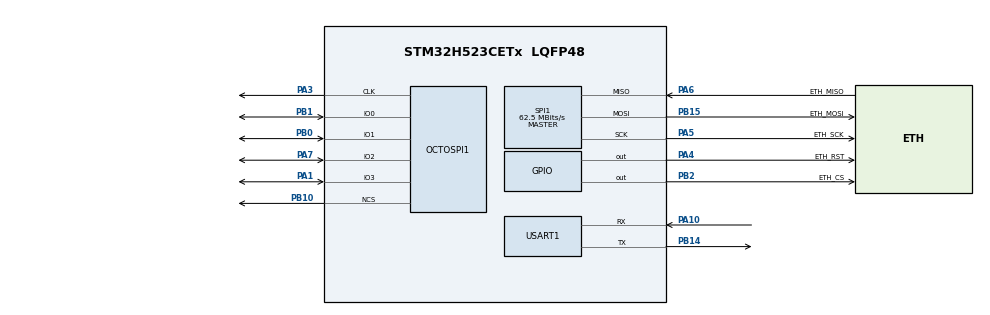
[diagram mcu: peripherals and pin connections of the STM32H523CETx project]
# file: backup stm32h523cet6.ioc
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BOOTPATH.BootPathName=LEGACY
BOOTPATH.UserSelectedBootPath=LEGACY
CORTEX_M33_NS.userName=CORTEX_M33
CRC.InputDataFormat=CRC_INPUTDATA_FORMAT_WORDS
Mcu.Family=STM32H5
Mcu.Name=STM32H523CETx
Mcu.Package=LQFP48
NVIC.PriorityGroup=NVIC_PRIORITYGROUP_4
OCTOSPI1.ClockPrescaler=1
OCTOSPI1.MemorySize=HAL_XSPI_SIZE_32MB
OCTOSPI1.MemoryType=HAL_XSPI_MEMTYPE_MACRONIX
PA1.Mode=OCTOSPI1_IO[3\:0]
PA1.Signal=OCTOSPI1_IO3
PA10.Mode=Asynchronous
PA10.Signal=USART1_RX
PA13(JTMS/SWDIO).Mode=Serial_Wire
PA13(JTMS/SWDIO).Signal=DEBUG_JTMS-SWDIO
PA14(JTCK/SWCLK).Mode=Serial_Wire
PA14(JTCK/SWCLK).Signal=DEBUG_JTCK-SWCLK
PA3.Mode=quad_mode
PA3.Signal=OCTOSPI1_CLK
PA4.GPIO_Label=ETH_RST
PA4.Signal=GPIO_Output
PA5.GPIO_Label=ETH_SCK
PA5.Mode=Full_Duplex_Master
PA5.Signal=SPI1_SCK
PA6.GPIO_Label=ETH_MISO
PA6.Mode=Full_Duplex_Master
PA6.Signal=SPI1_MISO
PA7.Mode=OCTOSPI1_IO[3\:0]
PA7.Signal=OCTOSPI1_IO2
PB0.Mode=OCTOSPI1_IO[3\:0]
PB0.Signal=OCTOSPI1_IO1
PB1.Mode=OCTOSPI1_IO[3\:0]
PB1.Signal=OCTOSPI1_IO0
PB10.Mode=quad_mode
PB10.Signal=OCTOSPI1_NCS
PB14.Mode=Asynchronous
PB14.Signal=USART1_TX
PB15.GPIO_Label=ETH_MOSI
PB15.Mode=Full_Duplex_Master
PB15.Signal=SPI1_MOSI
PB2.GPIO_Label=ETH_CS
PB2.Signal=GPIO_Output
PH0-OSC_IN(PH0).Mode=HSE-External-Oscillator
PH0-OSC_IN(PH0).Signal=RCC_OSC_IN
PH1-OSC_OUT(PH1).Mode=HSE-External-Oscillator
PH1-OSC_OUT(PH1).Signal=RCC_OSC_OUT
ProjectManager.HeapSize=0x200
ProjectManager.StackSize=0x400
ProjectManager.TargetToolchain=STM32CubeIDE
RCC.ADCFreq_Value=250000000
RCC.AHBFreq_Value=250000000
RCC.APB1Freq_Value=250000000
RCC.APB1TimFreq_Value=250000000
RCC.APB2Freq_Value=250000000
RCC.APB2TimFreq_Value=250000000
RCC.APB3Freq_Value=250000000
RCC.CSI_VALUE=4000000
RCC.CortexFreq_Value=250000000
RCC.EPOD_VALUE=25000000
RCC.HCLKFreq_Value=250000000
RCC.HSE_VALUE=25000000
RCC.HSI48_VALUE=48000000
RCC.HSI_VALUE=64000000
RCC.LSE_VALUE=32768
RCC.LSIRC_VALUE=32000
RCC.PLL2FRACN=0
RCC.PLL2M=2
RCC.PLL2N=40
RCC.PLL2P=4
RCC.PLL2Source=RCC_PLL2_SOURCE_HSE
RCC.PLL3FRACN=0
RCC.PLL3M=5
RCC.PLL3N=80
RCC.PLL3Source=RCC_PLL3_SOURCE_HSE
RCC.PLLFRACN=0
RCC.PLLM=2
RCC.PLLN=40
RCC.PLLSourceVirtual=RCC_PLL1_SOURCE_HSE
RCC.SPI1CLockSelection=RCC_SPI1CLKSOURCE_PLL2P
RCC.SPI3CLockSelection=RCC_SPI3CLKSOURCE_PLL3P
RCC.SYSCLKFreq_VALUE=250000000
RCC.SYSCLKSource=RCC_SYSCLKSOURCE_PLLCLK
RCC.USBFreq_Value=48000000
RCC.VCOOutputFreq_Value=500000000
SPI1.BaudRatePrescaler=SPI_BAUDRATEPRESCALER_2
SPI1.CalculateBaudRate=62.5 MBits/s
SPI1.DataSize=SPI_DATASIZE_8BIT
SPI1.Direction=SPI_DIRECTION_2LINES
SPI1.Mode=SPI_MODE_MASTER
SPI1.VirtualType=VM_MASTER
USART1.VirtualMode-Asynchronous=VM_ASYNC
VP_BOOTPATH_VS_BOOTPATH.Mode=BP_Activate
VP_CORTEX_M33_NS_VS_Hclk.Mode=Hclk_Mode
VP_CRC_VS_CRC.Mode=CRC_Activate
VP_MEMORYMAP_VS_MEMORYMAP.Mode=CurAppReg
VP_PWR_VS_LPOM.Mode=PowerOptimisation
VP_PWR_VS_SECSignals.Mode=Security/Privilege
board=custom

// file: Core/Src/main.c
/* USER CODE BEGIN Header */
/**
  ******************************************************************************
  * @file           : main.c
  * @brief          : Backup / Default Recovery Program (STM32H523CET6)
  *                   - Konsep kerja identik dengan referensi sha256
  *                   - Bebas snprintf/newlib crash (zero heap, static buffers)
  *                   - W5500 via SPI1 + DHCP Socket 1 + Web OTA Socket 0
  *                   - Target: Tulis firmware ke OctoSPI Flash (XIP Slot: 0x90001000)
  ******************************************************************************
  */
/* USER CODE END Header */
#include "main.h"
#include "crc.h"
#include "spi.h"
#include "usart.h"
#include "gpio.h"

/* USER CODE BEGIN Includes */
#include "octospi_ll.h"
#include "dhcp.h"
#include "html_updater.h"
#include <string.h>
#include <stdio.h>
#include <stdlib.h>
/* USER CODE END Includes */

/* USER CODE BEGIN PD */
/* --------------------------------------------------------------------------
 * PARTISI FLASH EKSTERNAL UNTUK APLIKASI UTAMA (Sesuai Bootloader)
 * -------------------------------------------------------------------------- */
#define FLASH_APP_BASE          0x00000000UL                           /* Sektor 0 (0 KB) */
#define FLASH_APP_META          (FLASH_APP_BASE)                       /* 0x00000000 */
#define FLASH_APP_BIN           (FLASH_APP_META + 4096UL)              /* 0x00001000 */
#define STAGING_FLAG_VALID      0xA5U
#define MAX_FIRMWARE_SIZE       (1UL * 1024UL * 1024UL)                /* 1 MB */

/* --------------------------------------------------------------------------
 * W5500 ETHERNET DEFINES (Persis sha256)
 * -------------------------------------------------------------------------- */
#define CHUNK_BUFFER_SIZE       512
#define W5500_COMMON_REG_OP     0x00
#define W5500_S0_REG_OP         0x08
#define W5500_S0_TX_OP          0x10
#define W5500_S0_RX_OP          0x18
#define W5500_S0_BUF_MASK       0x1FFF /* 8 KB buffer mask untuk Socket 0 */

#define Sn_MR                   0x0000
#define Sn_CR                   0x0001
#define Sn_IR                   0x0002
#define Sn_SR                   0x0003
#define Sn_PORT                 0x0004
#define Sn_TX_FSR               0x0020
#define Sn_TX_WR                0x0024
#define Sn_RX_RSR               0x0026
#define Sn_RX_RD                0x0028

#define SOCK_CLOSED             0x00
#define SOCK_INIT               0x13
#define SOCK_LISTEN             0x14
#define SOCK_ESTABLISHED        0x17
#define SOCK_CLOSE_WAIT         0x1C
#define SOCK_FIN_WAIT           0x18

#define CMD_OPEN                0x01
#define CMD_LISTEN              0x02
#define CMD_DISCON              0x08
#define CMD_CLOSE               0x10
#define CMD_SEND                0x20
#define CMD_RECV                0x40
/* USER CODE END PD */

/* USER CODE BEGIN PV */
volatile uint32_t g_ms_tick = 0;
static uint8_t ram_buffer[CHUNK_BUFFER_SIZE + 64];
static uint8_t overlap[4 + CHUNK_BUFFER_SIZE];
static char s_hdr_buf[160];
static char s_ok_buf[160];
/* USER CODE END PV */

void SystemClock_Config(void);
void PeriphCommonClock_Config(void);
/* USER CODE BEGIN PFP */
void Process_Web_OTA(void);
/* USER CODE END PFP */

/* USER CODE BEGIN 0 */

/* Helper format integer ke string tanpa snprintf / libc overhead (bebas HardFault) */
static void uint32_to_str(uint32_t val, char *out)
{
    char tmp[12];
    int i = 0;
    if (val == 0)
    {
        *out++ = '0';
        *out = '\0';
        return;
    }
    while (val > 0)
    {
        tmp[i++] = (char)('0' + (val % 10));
        val /= 10;
    }
    while (i > 0)
    {
        *out++ = tmp[--i];
    }
    *out = '\0';
}

/* ==============================================================================
 * 1. DRIVER SPI1 & W5500 BARE-METAL (Konsep persis sha256)
 * ============================================================================== */
static inline uint8_t SPI1_Transfer(uint8_t data)
{
    while (!LL_SPI_IsActiveFlag_TXP(SPI1));
    LL_SPI_TransmitData8(SPI1, data);
    while (!LL_SPI_IsActiveFlag_RXP(SPI1));
    return LL_SPI_ReceiveData8(SPI1);
}

void W5500_WriteReg(uint16_t addr, uint8_t block, uint8_t data)
{
    LL_GPIO_ResetOutputPin(ETH_CS_GPIO_Port, ETH_CS_Pin);
    SPI1_Transfer((uint8_t)(addr >> 8));
    SPI1_Transfer((uint8_t)addr);
    SPI1_Transfer(block | 0x04);
    SPI1_Transfer(data);
    LL_GPIO_SetOutputPin(ETH_CS_GPIO_Port, ETH_CS_Pin);
}

uint8_t W5500_ReadReg(uint16_t addr, uint8_t block)
{
    LL_GPIO_ResetOutputPin(ETH_CS_GPIO_Port, ETH_CS_Pin);
    SPI1_Transfer((uint8_t)(addr >> 8));
    SPI1_Transfer((uint8_t)addr);
    SPI1_Transfer(block | 0x00);
    uint8_t val = SPI1_Transfer(0xFF);
    LL_GPIO_SetOutputPin(ETH_CS_GPIO_Port, ETH_CS_Pin);
    return val;
}

void W5500_WriteBuf(uint16_t addr, uint8_t block, const uint8_t *buf, uint16_t len)
{
    LL_GPIO_ResetOutputPin(ETH_CS_GPIO_Port, ETH_CS_Pin);
    SPI1_Transfer((uint8_t)(addr >> 8));
    SPI1_Transfer((uint8_t)addr);
    SPI1_Transfer(block | 0x04);
    for (uint16_t i = 0; i < len; i++)
    {
        SPI1_Transfer(buf[i]);
    }
    LL_GPIO_SetOutputPin(ETH_CS_GPIO_Port, ETH_CS_Pin);
}

void W5500_ReadBuf(uint16_t addr, uint8_t block, uint8_t *buf, uint16_t len)
{
    LL_GPIO_ResetOutputPin(ETH_CS_GPIO_Port, ETH_CS_Pin);
    SPI1_Transfer((uint8_t)(addr >> 8));
    SPI1_Transfer((uint8_t)addr);
    SPI1_Transfer(block | 0x00);
    for (uint16_t i = 0; i < len; i++)
    {
        buf[i] = SPI1_Transfer(0xFF);
    }
    LL_GPIO_SetOutputPin(ETH_CS_GPIO_Port, ETH_CS_Pin);
}

/* W5500 Reset & Init: persis sha256 (busy loop volatile, bebas deadlock HAL) */
void W5500_InitNetwork(void)
{
    LL_GPIO_ResetOutputPin(ETH_RST_GPIO_Port, ETH_RST_Pin);
    for (volatile int i = 0; i < 250000; i++); /* Tahan LOW */
    LL_GPIO_SetOutputPin(ETH_RST_GPIO_Port, ETH_RST_Pin);
    for (volatile int i = 0; i < 2500000; i++); /* Tunggu PLL W5500 siap */

    uint8_t mac[]  = {0x00, 0x08, 0xDC, 0x52, 0x3C, 0x01};
    uint8_t zero[] = {0, 0, 0, 0};
    W5500_WriteBuf(0x0009, W5500_COMMON_REG_OP, mac,  6);
    W5500_WriteBuf(0x0001, W5500_COMMON_REG_OP, zero, 4); /* GW */
    W5500_WriteBuf(0x0005, W5500_COMMON_REG_OP, zero, 4); /* Subnet */
    W5500_WriteBuf(0x000F, W5500_COMMON_REG_OP, zero, 4); /* IP */

    /* Alokasi buffer W5500 (Total TX/RX maks 16 KB):
     * Socket 0 (Web OTA) = 8 KB (Mask 0x1FFF)
     * Socket 1 (DHCP)    = 2 KB (Mask 0x7FF)
     * Socket 2..7        = 0 KB (Unused, agar total 10 KB <= 16 KB) */
    W5500_WriteReg(0x001E, W5500_S0_REG_OP, 8);
    W5500_WriteReg(0x001F, W5500_S0_REG_OP, 8);
    W5500_WriteReg(0x001E, 0x28,            2);
    W5500_WriteReg(0x001F, 0x28,            2);

    for (uint8_t s = 2; s < 8; s++)
    {
        uint8_t blk = (s << 5) | 0x08; /* Socket s register block (0x48..0xE8) */
        W5500_WriteReg(0x001E, blk, 0);
        W5500_WriteReg(0x001F, blk, 0);
    }
}

static void W5500_WaitCR(uint8_t block, uint32_t timeout_ms)
{
    uint32_t t = g_ms_tick;
    while (W5500_ReadReg(Sn_CR, block))
    {
        if ((g_ms_tick - t) > timeout_ms) break;
    }
}

static void W5500_WaitSR(uint8_t block, uint8_t expected, uint32_t timeout_ms)
{
    uint32_t t = g_ms_tick;
    while (W5500_ReadReg(Sn_SR, block) != expected)
    {
        if ((g_ms_tick - t) > timeout_ms) break;
    }
}

void W5500_SocketOpenListen(uint16_t port)
{
    W5500_WriteReg(Sn_CR,       W5500_S0_REG_OP, CMD_CLOSE);
    W5500_WaitCR(W5500_S0_REG_OP, 10);
    W5500_WriteReg(Sn_MR,       W5500_S0_REG_OP, 0x01); /* TCP mode */
    W5500_WriteReg(Sn_PORT,     W5500_S0_REG_OP, (uint8_t)(port >> 8));
    W5500_WriteReg(Sn_PORT + 1, W5500_S0_REG_OP, (uint8_t)port);
    W5500_WriteReg(Sn_CR,       W5500_S0_REG_OP, CMD_OPEN);
    W5500_WaitCR(W5500_S0_REG_OP, 10);
    W5500_WaitSR(W5500_S0_REG_OP, SOCK_INIT, 50);
    W5500_WriteReg(Sn_CR,       W5500_S0_REG_OP, CMD_LISTEN);
    W5500_WaitCR(W5500_S0_REG_OP, 10);
    W5500_WaitSR(W5500_S0_REG_OP, SOCK_LISTEN, 50);
}

void W5500_SendTCP(const uint8_t *data, uint16_t len)
{
    uint16_t ptr = ((uint16_t)W5500_ReadReg(Sn_TX_WR,     W5500_S0_REG_OP) << 8) |
                              W5500_ReadReg(Sn_TX_WR + 1, W5500_S0_REG_OP);
    W5500_WriteBuf(ptr, W5500_S0_TX_OP, data, len);
    ptr += len;
    W5500_WriteReg(Sn_TX_WR,     W5500_S0_REG_OP, (uint8_t)(ptr >> 8));
    W5500_WriteReg(Sn_TX_WR + 1, W5500_S0_REG_OP, (uint8_t)ptr);
    W5500_WriteReg(Sn_CR,        W5500_S0_REG_OP, CMD_SEND);
    while (W5500_ReadReg(Sn_CR, W5500_S0_REG_OP));
}

/* ==============================================================================
 * 2. HITUNG HARDWARE CRC32 DARI FLASH EKSTERNAL (Persis sha256)
 * ============================================================================== */
static uint32_t CRC32_ComputeFromFlash(uint32_t flash_offset, uint32_t size_bytes)
{
    uint8_t buf[64];
    uint32_t remaining = size_bytes;
    uint32_t offset = flash_offset;

    LL_CRC_ResetCRCCalculationUnit(CRC);

    while (remaining > 0U)
    {
        uint32_t chunk = (remaining > sizeof(buf)) ? sizeof(buf) : remaining;
        uint32_t chunk_aligned = (chunk + 3U) & ~3U;

        for (uint32_t z = 0; z < chunk_aligned; z++) buf[z] = 0xFFU;

        Flash_ReadBytes(offset, buf, chunk);

        for (uint32_t i = 0; i < chunk_aligned; i += 4U)
        {
            uint32_t word = (uint32_t)buf[i]
                          | ((uint32_t)buf[i + 1U] << 8U)
                          | ((uint32_t)buf[i + 2U] << 16U)
                          | ((uint32_t)buf[i + 3U] << 24U);
            LL_CRC_FeedData32(CRC, word);
        }

        offset += chunk;
        remaining -= chunk;
    }

    return LL_CRC_ReadData32(CRC);
}

/* ==============================================================================
 * 3. WEB SERVER & FIRMWARE OTA HANDLER (Konsep persis sha256)
 * ============================================================================== */
void Process_Web_OTA(void)
{
    uint8_t sr = W5500_ReadReg(Sn_SR, W5500_S0_REG_OP);
    if (sr == SOCK_CLOSED)
    {
        W5500_SocketOpenListen(80);
        return;
    }

    if (sr == SOCK_CLOSE_WAIT || sr == SOCK_FIN_WAIT)
    {
        W5500_WriteReg(Sn_CR, W5500_S0_REG_OP, CMD_DISCON);
        while (W5500_ReadReg(Sn_CR, W5500_S0_REG_OP));
        return;
    }

    if (sr != SOCK_ESTABLISHED) return;

    uint16_t rx_len = ((uint16_t)W5500_ReadReg(Sn_RX_RSR,     W5500_S0_REG_OP) << 8) |
                                 W5500_ReadReg(Sn_RX_RSR + 1, W5500_S0_REG_OP);
    if (rx_len == 0) return;

    uint16_t rx_rd = ((uint16_t)W5500_ReadReg(Sn_RX_RD,     W5500_S0_REG_OP) << 8) |
                                W5500_ReadReg(Sn_RX_RD + 1, W5500_S0_REG_OP);
    uint16_t fetch = (rx_len > (CHUNK_BUFFER_SIZE - 1)) ? (CHUNK_BUFFER_SIZE - 1) : rx_len;
    uint16_t s_off = rx_rd & W5500_S0_BUF_MASK;
    if ((s_off + fetch) > (W5500_S0_BUF_MASK + 1))
    {
        uint16_t part1 = (W5500_S0_BUF_MASK + 1) - s_off;
        W5500_ReadBuf(s_off, W5500_S0_RX_OP, ram_buffer, part1);
        W5500_ReadBuf(0x0000, W5500_S0_RX_OP, ram_buffer + part1, fetch - part1);
    }
    else
    {
        W5500_ReadBuf(s_off, W5500_S0_RX_OP, ram_buffer, fetch);
    }
    ram_buffer[fetch] = '\0';

    /* -------------------------------------------------------------
     * GET / — Kirim Web UI Updater
     * ------------------------------------------------------------- */
    if (strstr((char *)ram_buffer, "GET /") != NULL && strstr((char *)ram_buffer, "POST") == NULL)
    {
        uint32_t page_len = strlen(HTML_UPDATER);
        char len_str[12];
        uint32_to_str(page_len, len_str);

        /* Format header HTTP aman tanpa snprintf/libc (zero crash risk) */
        strcpy(s_hdr_buf, "HTTP/1.1 200 OK\r\nContent-Type: text/html\r\nContent-Length: ");
        strcat(s_hdr_buf, len_str);
        strcat(s_hdr_buf, "\r\nConnection: close\r\n\r\n");

        W5500_SendTCP((uint8_t *)s_hdr_buf, (uint16_t)strlen(s_hdr_buf));

        /* Stream HTML per chunk */
        uint32_t sent = 0;
        while (sent < page_len)
        {
            uint16_t chunk = (page_len - sent > 1024) ? 1024 : (uint16_t)(page_len - sent);
            W5500_SendTCP((const uint8_t *)HTML_UPDATER + sent, chunk);
            sent += chunk;
        }

        rx_rd += rx_len;
        W5500_WriteReg(Sn_RX_RD,     W5500_S0_REG_OP, (uint8_t)(rx_rd >> 8));
        W5500_WriteReg(Sn_RX_RD + 1, W5500_S0_REG_OP, (uint8_t)rx_rd);
        W5500_WriteReg(Sn_CR,        W5500_S0_REG_OP, CMD_RECV);
        while (W5500_ReadReg(Sn_CR, W5500_S0_REG_OP));
        W5500_WriteReg(Sn_CR,        W5500_S0_REG_OP, CMD_DISCON);
        while (W5500_ReadReg(Sn_CR, W5500_S0_REG_OP));
        return;
    }

    /* -------------------------------------------------------------
     * POST /ota — Terima file firmware .bin (Persis sha256)
     * ------------------------------------------------------------- */
    if (strstr((char *)ram_buffer, "POST /ota") == NULL) return;

    char *pSize = strstr((char *)ram_buffer, "?sz=");
    char *pCrc  = strstr((char *)ram_buffer, "&crc=");
    if (!pSize || !pCrc) return;

    uint32_t expected_size = strtoul(pSize + 4, NULL, 10);
    uint32_t expected_crc  = strtoul(pCrc + 5, NULL, 0);

    if (expected_size == 0 || expected_size > MAX_FIRMWARE_SIZE)
    {
        const char err[] = "HTTP/1.1 400 Bad\r\nConnection: close\r\n\r\nFile terlalu besar!";
        W5500_SendTCP((uint8_t *)err, strlen(err));
        W5500_WriteReg(Sn_CR, W5500_S0_REG_OP, CMD_DISCON);
        while (W5500_ReadReg(Sn_CR, W5500_S0_REG_OP));
        return;
    }

    uint8_t rx_already_updated = 0;
    uint8_t tail[4] = { 0 };
    char *pBody = NULL;

    while (pBody == NULL)
    {
        memcpy(overlap, tail, 4);
        memcpy(overlap + 4, ram_buffer, fetch);
        overlap[4 + fetch] = '\0';
        char *found = strstr((char *)overlap, "\r\n\r\n");
        if (found)
        {
            int pos_in_overlap = (found - (char *)overlap);
            int pos_in_buf = pos_in_overlap - 4;
            int body_start = pos_in_buf + 4;
            if (body_start < 0) body_start = 0;
            if (body_start > fetch) body_start = fetch;
            pBody = (char *)ram_buffer + body_start;
            rx_rd += fetch;
            W5500_WriteReg(Sn_RX_RD,     W5500_S0_REG_OP, (uint8_t)(rx_rd >> 8));
            W5500_WriteReg(Sn_RX_RD + 1, W5500_S0_REG_OP, (uint8_t)rx_rd);
            W5500_WriteReg(Sn_CR,        W5500_S0_REG_OP, CMD_RECV);
            while (W5500_ReadReg(Sn_CR, W5500_S0_REG_OP));
            rx_already_updated = 1;
        }
        else
        {
            memcpy(tail, ram_buffer + fetch - 4, 4);
            rx_rd += fetch;
            W5500_WriteReg(Sn_RX_RD,     W5500_S0_REG_OP, (uint8_t)(rx_rd >> 8));
            W5500_WriteReg(Sn_RX_RD + 1, W5500_S0_REG_OP, (uint8_t)rx_rd);
            W5500_WriteReg(Sn_CR,        W5500_S0_REG_OP, CMD_RECV);
            while (W5500_ReadReg(Sn_CR, W5500_S0_REG_OP));
            rx_len = ((uint16_t)W5500_ReadReg(Sn_RX_RSR,     W5500_S0_REG_OP) << 8) |
                                 W5500_ReadReg(Sn_RX_RSR + 1, W5500_S0_REG_OP);
            if (rx_len == 0) continue;
            fetch = (rx_len > (CHUNK_BUFFER_SIZE - 1)) ? (CHUNK_BUFFER_SIZE - 1) : rx_len;
            s_off = rx_rd & W5500_S0_BUF_MASK;
            W5500_ReadBuf(s_off, W5500_S0_RX_OP, ram_buffer, fetch);
            ram_buffer[fetch] = '\0';
        }
    }

    uint32_t target_meta = FLASH_APP_META;
    uint32_t target_bin  = FLASH_APP_BIN;

    /* Erase target sectors di flash eksternal */
    ExtFlash_EraseSector(target_meta);

    uint32_t sectors = (expected_size + 4095U) / 4096U;
    for (uint32_t s = 0; s < sectors; s++)
    {
        ExtFlash_EraseSector(target_bin + (s * 4096U));
    }

    uint16_t header_len = (uint8_t *)pBody - ram_buffer;
    uint16_t body_in_packet = fetch - header_len;
    uint32_t bytes_received = 0;

    if (body_in_packet > 0)
    {
        uint16_t written = 0;
        while (written < body_in_packet)
        {
            uint32_t cur_flash = target_bin + written;
            uint16_t page_offset = cur_flash & 0xFF;
            uint16_t space_left = 256 - page_offset;
            uint16_t page_len = (body_in_packet - written > space_left)
                                ? space_left
                                : (body_in_packet - written);
            ExtFlash_WritePage(cur_flash, (uint8_t *)pBody + written, page_len);
            written += page_len;
        }
        bytes_received += body_in_packet;
    }

    if (!rx_already_updated)
    {
        rx_rd += fetch;
        W5500_WriteReg(Sn_RX_RD,     W5500_S0_REG_OP, (uint8_t)(rx_rd >> 8));
        W5500_WriteReg(Sn_RX_RD + 1, W5500_S0_REG_OP, (uint8_t)rx_rd);
        W5500_WriteReg(Sn_CR,        W5500_S0_REG_OP, CMD_RECV);
        while (W5500_ReadReg(Sn_CR, W5500_S0_REG_OP));
    }

    /* Stream sisa payload binary */
    while (bytes_received < expected_size)
    {
        rx_len = ((uint16_t)W5500_ReadReg(Sn_RX_RSR,     W5500_S0_REG_OP) << 8) |
                             W5500_ReadReg(Sn_RX_RSR + 1, W5500_S0_REG_OP);
        if (rx_len == 0) continue;
        rx_rd = ((uint16_t)W5500_ReadReg(Sn_RX_RD,     W5500_S0_REG_OP) << 8) |
                            W5500_ReadReg(Sn_RX_RD + 1, W5500_S0_REG_OP);
        uint16_t grab = (rx_len > CHUNK_BUFFER_SIZE) ? CHUNK_BUFFER_SIZE : rx_len;
        if (bytes_received + grab > expected_size) grab = expected_size - bytes_received;

        s_off = rx_rd & W5500_S0_BUF_MASK;
        if ((s_off + grab) > (W5500_S0_BUF_MASK + 1))
        {
            uint16_t p1 = (W5500_S0_BUF_MASK + 1) - s_off;
            W5500_ReadBuf(s_off, W5500_S0_RX_OP, ram_buffer, p1);
            W5500_ReadBuf(0x0000, W5500_S0_RX_OP, ram_buffer + p1, grab - p1);
        }
        else
        {
            W5500_ReadBuf(s_off, W5500_S0_RX_OP, ram_buffer, grab);
        }

        uint16_t written = 0;
        while (written < grab)
        {
            uint32_t cur_flash = target_bin + bytes_received + written;
            uint16_t page_offset = cur_flash & 0xFF;
            uint16_t space_left = 256 - page_offset;
            uint16_t page_len = (grab - written > space_left)
                                ? space_left
                                : (grab - written);
            ExtFlash_WritePage(cur_flash, &ram_buffer[written], page_len);
            written += page_len;
        }

        bytes_received += grab;
        rx_rd += grab;
        W5500_WriteReg(Sn_RX_RD,     W5500_S0_REG_OP, (uint8_t)(rx_rd >> 8));
        W5500_WriteReg(Sn_RX_RD + 1, W5500_S0_REG_OP, (uint8_t)rx_rd);
        W5500_WriteReg(Sn_CR,        W5500_S0_REG_OP, CMD_RECV);
        while (W5500_ReadReg(Sn_CR, W5500_S0_REG_OP));
    }

    /* Hitung Hardware CRC32 dari flash eksternal */
    uint32_t calc_crc = CRC32_ComputeFromFlash(target_bin, expected_size);

    if (calc_crc == expected_crc)
    {
        /* Metadata: [0..3]=size, [4..7]=crc, [8]=0xA5 (Persis format sha256) */
        uint8_t meta[10] = { 0 };
        meta[0] = (uint8_t)(expected_size);
        meta[1] = (uint8_t)(expected_size >> 8);
        meta[2] = (uint8_t)(expected_size >> 16);
        meta[3] = (uint8_t)(expected_size >> 24);
        meta[4] = (uint8_t)(expected_crc);
        meta[5] = (uint8_t)(expected_crc >> 8);
        meta[6] = (uint8_t)(expected_crc >> 16);
        meta[7] = (uint8_t)(expected_crc >> 24);
        meta[8] = STAGING_FLAG_VALID; /* 0xA5 */

        ExtFlash_WritePage(target_meta, meta, 10);

        const char ok_body[] = "Update Terkirim! Firmware tersimpan di flash. Device Rebooting...";
        char ok_len_str[12];
        uint32_to_str((uint32_t)strlen(ok_body), ok_len_str);

        strcpy(s_ok_buf, "HTTP/1.1 200 OK\r\nContent-Length: ");
        strcat(s_ok_buf, ok_len_str);
        strcat(s_ok_buf, "\r\nConnection: close\r\n\r\n");
        strcat(s_ok_buf, ok_body);

        W5500_SendTCP((uint8_t *)s_ok_buf, (uint16_t)strlen(s_ok_buf));

        /* Delay persis sha256: loop volatile sebelum reboot */
        for (volatile int d = 0; d < 25000000; d++);
        NVIC_SystemReset();
    }
    else
    {
        const char fail_msg[] = "HTTP/1.1 500 Error\r\nConnection: close\r\n\r\nCRC Mismatch!";
        W5500_SendTCP((uint8_t *)fail_msg, strlen(fail_msg));
        W5500_WriteReg(Sn_CR, W5500_S0_REG_OP, CMD_DISCON);
        while (W5500_ReadReg(Sn_CR, W5500_S0_REG_OP));
    }
}

/* ==============================================================================
 * UART DHCP STATUS REPORTER
 * ============================================================================== */
static void UART_PrintDHCPStatus(void)
{
    char buf[64];
    int len = snprintf(buf, sizeof(buf), "%d.%d.%d.%d (Status: %d)\r\n",
                       (int)g_dhcp_ip[0], (int)g_dhcp_ip[1],
                       (int)g_dhcp_ip[2], (int)g_dhcp_ip[3],
                       (int)g_dhcp_state);
    if (len > 0)
    {
        for (int i = 0; i < len; i++)
        {
            while (!LL_USART_IsActiveFlag_TXE_TXFNF(USART1));
            LL_USART_TransmitData8(USART1, (uint8_t)buf[i]);
        }
    }
}
/* USER CODE END 0 */

int main(void)
{

  /* USER CODE BEGIN 1 */
  /* Relokasi Vector Table ke alamat aplikasi di internal flash */
  SCB->VTOR = 0x08002000UL;
  __enable_irq();
  /* USER CODE END 1 */

  /* MCU Configuration--------------------------------------------------------*/

  /* Reset of all peripherals, Initializes the Flash interface and the Systick. */
  HAL_Init();

  /* Configure the system clock */
  SystemClock_Config();

  /* Configure the peripherals common clocks */
  PeriphCommonClock_Config();

  /* USER CODE BEGIN SysInit */
  /* Enable SysTick interrupt (persis baris 1115 di sha256) */
  SysTick->CTRL |= SysTick_CTRL_TICKINT_Msk;
  /* USER CODE END SysInit */

  /* Initialize all configured peripherals */
  MX_GPIO_Init();
  MX_SPI1_Init();
  MX_CRC_Init();
  MX_USART1_UART_Init();
  /* USER CODE BEGIN 2 */
  /* Enable SPI1 Master Transfer */
  LL_SPI_SetTransferSize(SPI1, 0);
  LL_SPI_Enable(SPI1);
  LL_SPI_StartMasterTransfer(SPI1);

  /* Init OctoSPI ke Indirect mode untuk akses flash eksternal */
  OCTOSPI1_LL_IndirectInit();

  /* Init W5500 Hardware & Network Buffer (persis sha256) */
  W5500_InitNetwork();

  /* Init DHCP Client (persis sha256) */
  DHCP_Init();
  /* USER CODE END 2 */

  /* Infinite loop */
  while (1)
  {

    /* USER CODE BEGIN 3 */
    DHCP_Process();

    /* Trigger 1: Cetak saat berhasil dapat IP DHCP (edge-triggered) */
    static uint8_t s_dhcp_bound_last = 0;
    uint8_t is_bound = DHCP_IsBound();
    if (is_bound && !s_dhcp_bound_last)
    {
        UART_PrintDHCPStatus();
    }
    s_dhcp_bound_last = is_bound;

    /* Trigger 2: Cetak saat ada karakter masuk di USART1 RX */
    if (LL_USART_IsActiveFlag_ORE(USART1))
    {
        LL_USART_ClearFlag_ORE(USART1);
    }
    if (LL_USART_IsActiveFlag_RXNE_RXFNE(USART1))
    {
        (void)LL_USART_ReceiveData8(USART1);
        UART_PrintDHCPStatus();
    }

    if (DHCP_IsBound())
    {
        Process_Web_OTA();
    }
  }
  /* USER CODE END 3 */
}

void SystemClock_Config(void)
{
  LL_FLASH_SetLatency(LL_FLASH_LATENCY_5);
  while(LL_FLASH_GetLatency()!= LL_FLASH_LATENCY_5)
  {
  }

  LL_PWR_SetRegulVoltageScaling(LL_PWR_REGU_VOLTAGE_SCALE0);
  while (LL_PWR_IsActiveFlag_VOS() == 0)
  {
  }
  LL_RCC_HSE_Enable();

   /* Wait till HSE is ready */
  while(LL_RCC_HSE_IsReady() != 1)
  {
  }

  LL_RCC_PLL1_SetSource(LL_RCC_PLL1SOURCE_HSE);
  LL_RCC_PLL1_SetVCOInputRange(LL_RCC_PLLINPUTRANGE_8_16);
  LL_RCC_PLL1_SetVCOOutputRange(LL_RCC_PLLVCORANGE_WIDE);
  LL_RCC_PLL1_SetM(2);
  LL_RCC_PLL1_SetN(40);
  LL_RCC_PLL1_SetP(2);
  LL_RCC_PLL1_SetQ(2);
  LL_RCC_PLL1_SetR(2);
  LL_RCC_PLL1P_Enable();
  LL_RCC_PLL1_Enable();

   /* Wait till PLL is ready */
  while(LL_RCC_PLL1_IsReady() != 1)
  {
  }

  LL_RCC_SetSysClkSource(LL_RCC_SYS_CLKSOURCE_PLL1);

   /* Wait till System clock is ready */
  while(LL_RCC_GetSysClkSource() != LL_RCC_SYS_CLKSOURCE_STATUS_PLL1)
  {
  }

  LL_RCC_SetAHBPrescaler(LL_RCC_SYSCLK_DIV_1);
  LL_RCC_SetAPB1Prescaler(LL_RCC_APB1_DIV_1);
  LL_RCC_SetAPB2Prescaler(LL_RCC_APB2_DIV_1);
  LL_RCC_SetAPB3Prescaler(LL_RCC_APB3_DIV_1);
  LL_SetSystemCoreClock(250000000);

   /* Update the time base */
  if (HAL_InitTick (TICK_INT_PRIORITY) != HAL_OK)
  {
    Error_Handler();
  }
}

void PeriphCommonClock_Config(void)
{
  LL_RCC_PLL2_SetSource(LL_RCC_PLL2SOURCE_HSE);
  LL_RCC_PLL2_SetVCOInputRange(LL_RCC_PLLINPUTRANGE_8_16);
  LL_RCC_PLL2_SetVCOOutputRange(LL_RCC_PLLVCORANGE_WIDE);
  LL_RCC_PLL2_SetM(2);
  LL_RCC_PLL2_SetN(40);
  LL_RCC_PLL2_SetP(4);
  LL_RCC_PLL2_SetQ(2);
  LL_RCC_PLL2_SetR(2);
  LL_RCC_PLL2P_Enable();
  LL_RCC_PLL2_Enable();

   /* Wait till PLL is ready */
  while(LL_RCC_PLL2_IsReady() != 1)
  {
  }

}

void Error_Handler(void)
{
  __disable_irq();
  while (1)
  {
  }
}
